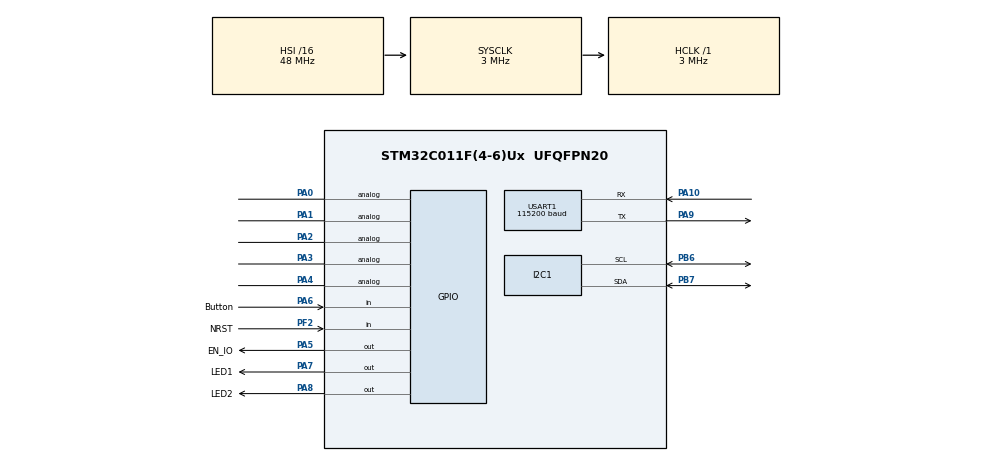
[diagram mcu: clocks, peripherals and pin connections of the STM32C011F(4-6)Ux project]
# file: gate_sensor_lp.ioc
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I2C1.Timing=0x00100B0C
Mcu.Family=STM32C0
Mcu.Name=STM32C011F(4-6)Ux
Mcu.Package=UFQFPN20
NVIC.TIM14_IRQn=true\:0\:0\:true\:false\:true\:true\:true\:true
NVIC.TIM16_IRQn=true\:1\:0\:true\:false\:true\:true\:true\:true
PA0.Signal=GPIO_Analog
PA1.Signal=GPIO_Analog
PA10\ [PA12].Mode=Asynchronous
PA10\ [PA12].Signal=USART1_RX
PA13.Mode=Serial_Wire
PA13.Signal=DEBUG_SWDIO
PA14-BOOT0.Mode=Serial_Wire
PA14-BOOT0.Signal=DEBUG_SWCLK
PA2.Signal=GPIO_Analog
PA3.Signal=GPIO_Analog
PA4.Signal=GPIO_Analog
PA5.GPIO_Label=EN_IO
PA5.Signal=GPIO_Output
PA6.GPIO_Label=Button
PA6.GPIO_PuPd=GPIO_PULLUP
PA6.Signal=GPIO_Input
PA7.GPIO_Label=LED1
PA7.Signal=GPIO_Output
PA8.GPIO_Label=LED2
PA8.Signal=GPIO_Output
PA9\ [PA11].Mode=Asynchronous
PA9\ [PA11].Signal=USART1_TX
PB6.Mode=I2C
PB6.Signal=I2C1_SCL
PB7.Mode=I2C
PB7.Signal=I2C1_SDA
PC14-OSCX_IN\ (PC14).Signal=RCC_OSCX_IN
PC15-OSCX_OUT\ (PC15).Signal=RCC_OSCX_OUT
PF2-NRST.GPIO_Label=NRST
PF2-NRST.Signal=GPIO_Input
ProjectManager.HeapSize=0x200
ProjectManager.StackSize=0x400
ProjectManager.TargetToolchain=STM32CubeIDE
RCC.ADCFreq_Value=3000000
RCC.AHBFreq_Value=3000000
RCC.CortexFreq_Value=3000000
RCC.EXTERNAL_CLOCK_VALUE=12288000
RCC.HCLKFreq_Value=3000000
RCC.HSE_VALUE=8000000
RCC.HSISYSCLKDivider=RCC_HSI_DIV16
RCC.HSI_VALUE=48000000
RCC.LSE_VALUE=32768
RCC.SYSCLKFreq_VALUE=3000000
TIM14.ClockDivision=TIM_CLOCKDIVISION_DIV1
TIM14.Period=99
TIM14.Prescaler=299
TIM16.Period=9
TIM16.Prescaler=299
USART1.BaudRate=115200
USART1.OverSampling=UART_OVERSAMPLING_16
USART1.SwapParam=ADVFEATURE_SWAP_DISABLE
USART1.VirtualMode-Asynchronous=VM_ASYNC
VP_SYS_VS_PINREMAP.Mode=PINREMAP
VP_SYS_VS_PINREMAP_10_12.Mode=PINREMAP_10_12
VP_TIM14_VS_ClockSourceINT.Mode=Enable_Timer
VP_TIM16_VS_ClockSourceINT.Mode=Enable_Timer
board=custom

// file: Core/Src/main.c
/* USER CODE BEGIN Header */
/**
  ******************************************************************************
  * @file           : main.c
  * @brief          : Main program body
  ******************************************************************************
  * @attention
  *
  * Copyright (c) 2025 STMicroelectronics.
  * All rights reserved.
  *
  * This software is licensed under terms that can be found in the LICENSE file
  * in the root directory of this software component.
  * If no LICENSE file comes with this software, it is provided AS-IS.
  *
  ******************************************************************************
  */
/* USER CODE END Header */
#include "main.h"
#include "i2c.h"
#include "tim.h"
#include "usart.h"
#include "gpio.h"

/* USER CODE BEGIN Includes */
#include "stdbool.h"
#include "bma400.h"
#include "math.h"
#include <stdio.h>
#include <string.h>
/* USER CODE END Includes */

/* USER CODE BEGIN PV */
volatile uint16_t motion_time = 0;
volatile uint8_t send_flag = 0;
volatile uint16_t send_time = 0;
volatile uint8_t go_sleep = 0;

struct bma400_dev bma400 = {
	.intf = BMA400_I2C_INTF,
	.intf_ptr = &hi2c1,
	.read = user_i2c_read,
	.write = user_i2c_write,
	.delay_us = user_delay_us
};
/* USER CODE END PV */

void SystemClock_Config(void);

/* USER CODE BEGIN 0 */
void enterShutdown(void)
{
	GPIO_InitTypeDef GPIO_InitStruct = {0};

	GPIO_InitStruct.Mode = GPIO_MODE_ANALOG;
	GPIO_InitStruct.Pull = GPIO_NOPULL;
	GPIO_InitStruct.Pin = GPIO_PIN_ALL;
	HAL_GPIO_Init(GPIOA, &GPIO_InitStruct);
	HAL_GPIO_Init(GPIOB, &GPIO_InitStruct);
	HAL_GPIO_Init(GPIOC, &GPIO_InitStruct);
	HAL_GPIO_Init(GPIOF, &GPIO_InitStruct);

    GPIO_InitStruct.Pin = EN_IO_Pin;
    GPIO_InitStruct.Mode = GPIO_MODE_ANALOG;
    GPIO_InitStruct.Pull = GPIO_NOPULL;
    HAL_GPIO_Init(EN_IO_GPIO_Port, &GPIO_InitStruct);

	HAL_PWREx_EnablePullUpPullDownConfig();
	HAL_PWREx_DisableGPIOPullUp(PWR_GPIO_A, GPIO_PIN_ALL);
	HAL_PWREx_DisableGPIOPullDown(PWR_GPIO_A, GPIO_PIN_ALL);
	HAL_PWREx_DisableGPIOPullUp(PWR_GPIO_B, GPIO_PIN_ALL);
	HAL_PWREx_DisableGPIOPullDown(PWR_GPIO_B, GPIO_PIN_ALL);
	HAL_PWREx_DisableGPIOPullUp(PWR_GPIO_C, GPIO_PIN_ALL);
	HAL_PWREx_DisableGPIOPullDown(PWR_GPIO_C, GPIO_PIN_ALL);
	HAL_PWREx_DisableGPIOPullUp(PWR_GPIO_F, GPIO_PIN_ALL);
	HAL_PWREx_DisableGPIOPullDown(PWR_GPIO_F, GPIO_PIN_ALL);
	HAL_PWREx_DisablePullUpPullDownConfig();

	__HAL_PWR_CLEAR_FLAG(PWR_FLAG_WUF);
	HAL_SuspendTick();
	HAL_PWREx_EnterSHUTDOWNMode();
}

// Configure BMA400 for low power + wake-up on Y-axis motion
void configureBMA400(struct bma400_dev *dev)
{
    bma400_set_power_mode(BMA400_MODE_SLEEP, dev);
}

void SendESP(UART_HandleTypeDef *huart, uint16_t value) {
	char msg[16];
	snprintf(msg, sizeof(msg), "%u\n", value);

	HAL_GPIO_WritePin(EN_IO_GPIO_Port, EN_IO_Pin, SET);
	HAL_Delay(280);
	HAL_UART_Transmit(huart, (uint8_t *)msg, strlen(msg), HAL_MAX_DELAY);
	HAL_Delay(2);
	HAL_GPIO_WritePin(EN_IO_GPIO_Port, EN_IO_Pin, RESET);
	HAL_Delay(70);
}
/* USER CODE END 0 */

int main(void)
{

  /* MCU Configuration--------------------------------------------------------*/

  /* Reset of all peripherals, Initializes the Flash interface and the Systick. */
  HAL_Init();

  /* Configure the system clock */
  SystemClock_Config();

  /* Initialize all configured peripherals */
  MX_GPIO_Init();
  MX_USART1_UART_Init();
  MX_TIM14_Init();
  MX_TIM16_Init();
  MX_I2C1_Init();
  /* USER CODE BEGIN 2 */
  //HAL_PWREx_DisableGPIOPullUp(PWR_GPIO_B, PWR_GPIO_BIT_2);
  //HAL_PWREx_DisablePullUpPullDownConfig();
  bma400_init(&bma400);
  configureBMA400(&bma400);

  HAL_Delay(10);

  HAL_SuspendTick();
  enterShutdown();
  /* USER CODE END 2 */

  /* Infinite loop */
  while (1)
  {

  }
}

void SystemClock_Config(void)
{
  RCC_OscInitTypeDef RCC_OscInitStruct = {0};
  RCC_ClkInitTypeDef RCC_ClkInitStruct = {0};

  __HAL_FLASH_SET_LATENCY(FLASH_LATENCY_0);

  /** Initializes the RCC Oscillators according to the specified parameters
  * in the RCC_OscInitTypeDef structure.
  */
  RCC_OscInitStruct.OscillatorType = RCC_OSCILLATORTYPE_HSI;
  RCC_OscInitStruct.HSIState = RCC_HSI_ON;
  RCC_OscInitStruct.HSIDiv = RCC_HSI_DIV16;
  RCC_OscInitStruct.HSICalibrationValue = RCC_HSICALIBRATION_DEFAULT;
  if (HAL_RCC_OscConfig(&RCC_OscInitStruct) != HAL_OK)
  {
    Error_Handler();
  }

  /** Initializes the CPU, AHB and APB buses clocks
  */
  RCC_ClkInitStruct.ClockType = RCC_CLOCKTYPE_HCLK|RCC_CLOCKTYPE_SYSCLK
                              |RCC_CLOCKTYPE_PCLK1;
  RCC_ClkInitStruct.SYSCLKSource = RCC_SYSCLKSOURCE_HSI;
  RCC_ClkInitStruct.SYSCLKDivider = RCC_SYSCLK_DIV1;
  RCC_ClkInitStruct.AHBCLKDivider = RCC_HCLK_DIV1;
  RCC_ClkInitStruct.APB1CLKDivider = RCC_APB1_DIV1;

  if (HAL_RCC_ClockConfig(&RCC_ClkInitStruct, FLASH_LATENCY_0) != HAL_OK)
  {
    Error_Handler();
  }
}

void Error_Handler(void)
{
  /* USER CODE BEGIN Error_Handler_Debug */
  /* User can add his own implementation to report the HAL error return state */
  HAL_GPIO_WritePin(LED2_GPIO_Port, LED2_Pin, SET);
  while (1)
  {

  }
  /* USER CODE END Error_Handler_Debug */
}
